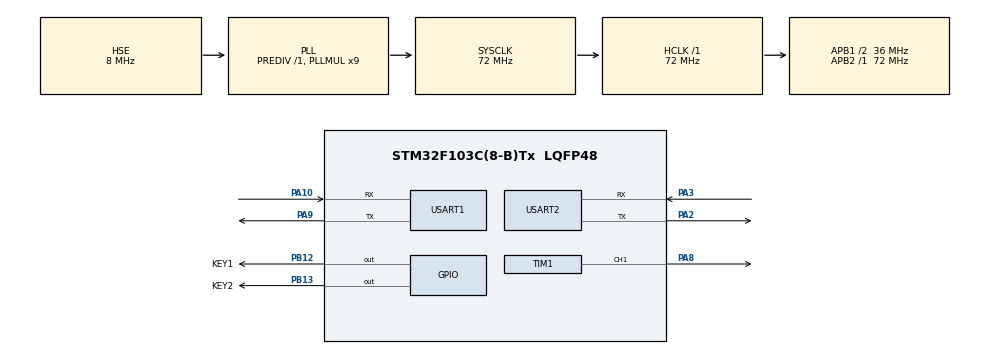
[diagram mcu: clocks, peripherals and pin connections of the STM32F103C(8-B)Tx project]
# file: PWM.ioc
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Mcu.Family=STM32F1
Mcu.Name=STM32F103C(8-B)Tx
Mcu.Package=LQFP48
NVIC.PriorityGroup=NVIC_PRIORITYGROUP_4
PA10.Mode=Asynchronous
PA10.Signal=USART1_RX
PA2.Mode=Asynchronous
PA2.Signal=USART2_TX
PA3.Mode=Asynchronous
PA3.Signal=USART2_RX
PA8.Signal=S_TIM1_CH1
PA9.Mode=Asynchronous
PA9.Signal=USART1_TX
PB12.GPIO_Label=KEY1
PB12.Signal=GPIO_Output
PB13.GPIO_Label=KEY2
PB13.Signal=GPIO_Output
PD0-OSC_IN.Mode=HSE-External-Oscillator
PD0-OSC_IN.Signal=RCC_OSC_IN
PD1-OSC_OUT.Mode=HSE-External-Oscillator
PD1-OSC_OUT.Signal=RCC_OSC_OUT
ProjectManager.HeapSize=0x200
ProjectManager.StackSize=0x400
ProjectManager.TargetToolchain=STM32CubeIDE
RCC.AHBFreq_Value=72000000
RCC.APB1CLKDivider=RCC_HCLK_DIV2
RCC.APB1Freq_Value=36000000
RCC.APB1TimFreq_Value=72000000
RCC.APB2Freq_Value=72000000
RCC.APB2TimFreq_Value=72000000
RCC.HCLKFreq_Value=72000000
RCC.PLLMUL=RCC_PLL_MUL9
RCC.PLLSourceVirtual=RCC_PLLSOURCE_HSE
RCC.SYSCLKFreq_VALUE=72000000
RCC.SYSCLKSource=RCC_SYSCLKSOURCE_PLLCLK
RCC.USBFreq_Value=72000000
SH.S_TIM1_CH1.0=TIM1_CH1,PWM Generation1 CH1
TIM1.Channel-PWM\ Generation1\ CH1=TIM_CHANNEL_1
TIM1.Period=999
TIM1.Prescaler=0
TIM1.RepetitionCounter=71
USART1.VirtualMode=VM_ASYNC
USART2.VirtualMode=VM_ASYNC
VP_SYS_VS_ND.Mode=No_Debug
VP_TIM1_VS_ClockSourceINT.Mode=Internal
board=custom

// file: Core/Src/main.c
/* USER CODE BEGIN Header */
/**
  ******************************************************************************
  * @file           : main.c
  * @brief          : Main program body
  ******************************************************************************
  * @attention
  *
  * Copyright (c) 2026 STMicroelectronics.
  * All rights reserved.
  *
  * This software is licensed under terms that can be found in the LICENSE file
  * in the root directory of this software component.
  * If no LICENSE file comes with this software, it is provided AS-IS.
  *
  ******************************************************************************
  */
/* USER CODE END Header */
#include "main.h"

/* USER CODE BEGIN Includes */
#include <stdio.h>
#include <string.h>
/* USER CODE END Includes */

TIM_HandleTypeDef htim1;

UART_HandleTypeDef huart1;
UART_HandleTypeDef huart2;

void SystemClock_Config(void);
static void MX_GPIO_Init(void);
static void MX_TIM1_Init(void);
static void MX_USART2_UART_Init(void);
static void MX_USART1_UART_Init(void);

int main(void)
{

  /* USER CODE BEGIN 1 */
int i;
  /* USER CODE END 1 */

  /* MCU Configuration--------------------------------------------------------*/

  /* Reset of all peripherals, Initializes the Flash interface and the Systick. */
  HAL_Init();

  /* Configure the system clock */
  SystemClock_Config();

  /* Initialize all configured peripherals */
  MX_GPIO_Init();
  MX_TIM1_Init();
  MX_USART2_UART_Init();
  MX_USART1_UART_Init();
  /* USER CODE BEGIN 2 */
HAL_TIM_PWM_Start(&htim1, TIM_CHANNEL_1);
  /* USER CODE END 2 */

  /* Infinite loop */
  while (1)
  {

    /* USER CODE BEGIN 3 */
	  char msg[20];

	  for(i=1; i<=999;i++) {

		  __HAL_TIM_SET_COMPARE(&htim1,TIM_CHANNEL_1,i);
		  char msg[20];
		  sprintf(msg, "%d\r\n", i);
		  HAL_UART_Transmit(&huart1,(uint8_t *)msg, strlen(msg),HAL_MAX_DELAY);
		  HAL_Delay(2);
	  }
	  for(i=1000; i>=1;i--) {
	 		  __HAL_TIM_SET_COMPARE(&htim1,TIM_CHANNEL_1,i);
	 		  sprintf(msg, "%d\r\n", i);
	 		  HAL_UART_Transmit(&huart1,(uint8_t *)msg, strlen(msg),HAL_MAX_DELAY);
	 		  HAL_Delay(2);
	  }
  }
  /* USER CODE END 3 */
}

void SystemClock_Config(void)
{
  RCC_OscInitTypeDef RCC_OscInitStruct = {0};
  RCC_ClkInitTypeDef RCC_ClkInitStruct = {0};

  /** Initializes the RCC Oscillators according to the specified parameters
  * in the RCC_OscInitTypeDef structure.
  */
  RCC_OscInitStruct.OscillatorType = RCC_OSCILLATORTYPE_HSE;
  RCC_OscInitStruct.HSEState = RCC_HSE_ON;
  RCC_OscInitStruct.HSEPredivValue = RCC_HSE_PREDIV_DIV1;
  RCC_OscInitStruct.HSIState = RCC_HSI_ON;
  RCC_OscInitStruct.PLL.PLLState = RCC_PLL_ON;
  RCC_OscInitStruct.PLL.PLLSource = RCC_PLLSOURCE_HSE;
  RCC_OscInitStruct.PLL.PLLMUL = RCC_PLL_MUL9;
  if (HAL_RCC_OscConfig(&RCC_OscInitStruct) != HAL_OK)
  {
    Error_Handler();
  }

  /** Initializes the CPU, AHB and APB buses clocks
  */
  RCC_ClkInitStruct.ClockType = RCC_CLOCKTYPE_HCLK|RCC_CLOCKTYPE_SYSCLK
                              |RCC_CLOCKTYPE_PCLK1|RCC_CLOCKTYPE_PCLK2;
  RCC_ClkInitStruct.SYSCLKSource = RCC_SYSCLKSOURCE_PLLCLK;
  RCC_ClkInitStruct.AHBCLKDivider = RCC_SYSCLK_DIV1;
  RCC_ClkInitStruct.APB1CLKDivider = RCC_HCLK_DIV2;
  RCC_ClkInitStruct.APB2CLKDivider = RCC_HCLK_DIV1;

  if (HAL_RCC_ClockConfig(&RCC_ClkInitStruct, FLASH_LATENCY_2) != HAL_OK)
  {
    Error_Handler();
  }
}

static void MX_TIM1_Init(void)
{

  TIM_ClockConfigTypeDef sClockSourceConfig = {0};
  TIM_MasterConfigTypeDef sMasterConfig = {0};
  TIM_OC_InitTypeDef sConfigOC = {0};
  TIM_BreakDeadTimeConfigTypeDef sBreakDeadTimeConfig = {0};

  htim1.Instance = TIM1;
  htim1.Init.Prescaler = 0;
  htim1.Init.CounterMode = TIM_COUNTERMODE_UP;
  htim1.Init.Period = 999;
  htim1.Init.ClockDivision = TIM_CLOCKDIVISION_DIV1;
  htim1.Init.RepetitionCounter = 71;
  htim1.Init.AutoReloadPreload = TIM_AUTORELOAD_PRELOAD_DISABLE;
  if (HAL_TIM_Base_Init(&htim1) != HAL_OK)
  {
    Error_Handler();
  }
  sClockSourceConfig.ClockSource = TIM_CLOCKSOURCE_INTERNAL;
  if (HAL_TIM_ConfigClockSource(&htim1, &sClockSourceConfig) != HAL_OK)
  {
    Error_Handler();
  }
  if (HAL_TIM_PWM_Init(&htim1) != HAL_OK)
  {
    Error_Handler();
  }
  sMasterConfig.MasterOutputTrigger = TIM_TRGO_RESET;
  sMasterConfig.MasterSlaveMode = TIM_MASTERSLAVEMODE_DISABLE;
  if (HAL_TIMEx_MasterConfigSynchronization(&htim1, &sMasterConfig) != HAL_OK)
  {
    Error_Handler();
  }
  sConfigOC.OCMode = TIM_OCMODE_PWM1;
  sConfigOC.Pulse = 0;
  sConfigOC.OCPolarity = TIM_OCPOLARITY_HIGH;
  sConfigOC.OCNPolarity = TIM_OCNPOLARITY_HIGH;
  sConfigOC.OCFastMode = TIM_OCFAST_DISABLE;
  sConfigOC.OCIdleState = TIM_OCIDLESTATE_RESET;
  sConfigOC.OCNIdleState = TIM_OCNIDLESTATE_RESET;
  if (HAL_TIM_PWM_ConfigChannel(&htim1, &sConfigOC, TIM_CHANNEL_1) != HAL_OK)
  {
    Error_Handler();
  }
  sBreakDeadTimeConfig.OffStateRunMode = TIM_OSSR_DISABLE;
  sBreakDeadTimeConfig.OffStateIDLEMode = TIM_OSSI_DISABLE;
  sBreakDeadTimeConfig.LockLevel = TIM_LOCKLEVEL_OFF;
  sBreakDeadTimeConfig.DeadTime = 0;
  sBreakDeadTimeConfig.BreakState = TIM_BREAK_DISABLE;
  sBreakDeadTimeConfig.BreakPolarity = TIM_BREAKPOLARITY_HIGH;
  sBreakDeadTimeConfig.AutomaticOutput = TIM_AUTOMATICOUTPUT_DISABLE;
  if (HAL_TIMEx_ConfigBreakDeadTime(&htim1, &sBreakDeadTimeConfig) != HAL_OK)
  {
    Error_Handler();
  }
  HAL_TIM_MspPostInit(&htim1);

}

static void MX_USART1_UART_Init(void)
{

  huart1.Instance = USART1;
  huart1.Init.BaudRate = 115200;
  huart1.Init.WordLength = UART_WORDLENGTH_8B;
  huart1.Init.StopBits = UART_STOPBITS_1;
  huart1.Init.Parity = UART_PARITY_NONE;
  huart1.Init.Mode = UART_MODE_TX_RX;
  huart1.Init.HwFlowCtl = UART_HWCONTROL_NONE;
  huart1.Init.OverSampling = UART_OVERSAMPLING_16;
  if (HAL_UART_Init(&huart1) != HAL_OK)
  {
    Error_Handler();
  }

}

static void MX_USART2_UART_Init(void)
{

  huart2.Instance = USART2;
  huart2.Init.BaudRate = 115200;
  huart2.Init.WordLength = UART_WORDLENGTH_8B;
  huart2.Init.StopBits = UART_STOPBITS_1;
  huart2.Init.Parity = UART_PARITY_NONE;
  huart2.Init.Mode = UART_MODE_TX_RX;
  huart2.Init.HwFlowCtl = UART_HWCONTROL_NONE;
  huart2.Init.OverSampling = UART_OVERSAMPLING_16;
  if (HAL_UART_Init(&huart2) != HAL_OK)
  {
    Error_Handler();
  }

}

static void MX_GPIO_Init(void)
{

  /* GPIO Ports Clock Enable */
  __HAL_RCC_GPIOD_CLK_ENABLE();
  __HAL_RCC_GPIOA_CLK_ENABLE();

}

void Error_Handler(void)
{
  __disable_irq();
  while (1)
  {
  }
}
